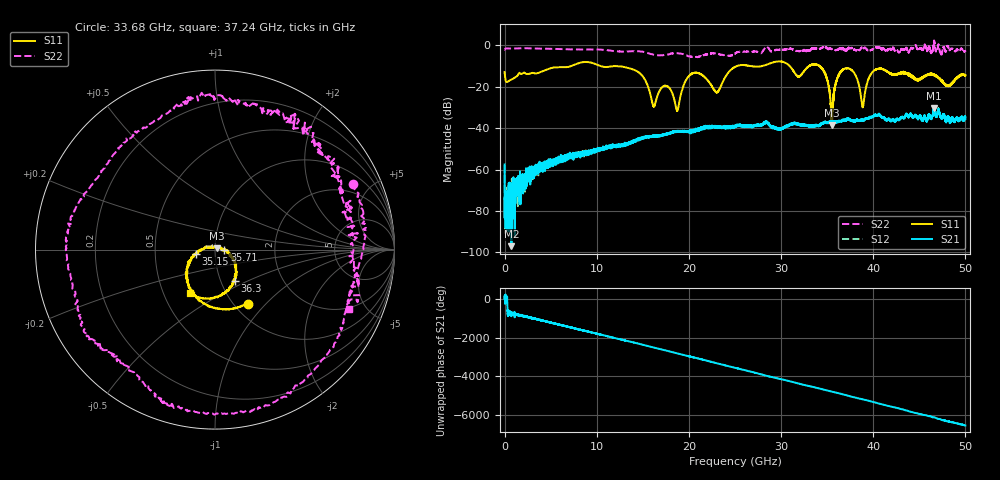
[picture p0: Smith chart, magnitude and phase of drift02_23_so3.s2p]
!Created with skrf (http://scikit-rf.org).
# Hz S RI R 50.0
!freq ReS11 ImS11 ReS21 ImS21 ReS12 ImS12 ReS22 ImS22
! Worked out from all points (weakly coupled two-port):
!   10001 points, 300 kHz to 50 GHz, reference 50 ohm
!   highest |S21| = -30.15 dB at 46.6 GHz (marker M1); lowest = -97.0 dB at 740.3 MHz (marker M2)
!   lowest |S11| = -38.6 dB at 35.53 GHz (marker M3), VSWR 1.02, Z = 51 + j0.649 ohm
!   |S11| at or under -10 dB: start of sweep to 7.178 GHz; 12.33 GHz to 25.18 GHz (12.85 GHz wide, 68.5 % of centre); 34.2 GHz to end of sweep (the widest 3 of 18)
!   |S22| runs from -5.7 to 2.4 dB; largest |S21 - S12| = 0.0037
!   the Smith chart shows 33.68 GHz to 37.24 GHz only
!   S11 on the Smith chart (normalised r, x): 33.68 GHz: 1.15, -0.79; 35.15 GHz: 0.81, -0.04; 35.71 GHz: 1.11, -0.01; 36.3 GHz: 1.17, -0.43; 37.24 GHz: 0.68, -0.36
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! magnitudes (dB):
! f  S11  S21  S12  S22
! 300 kHz  -12.9  -57.5  -57.8  -2.1
! 260.3 MHz  -17.6  -75.5  -75.5  -1.4
! 740.3 MHz  -16.5  -97.0  -75.6  -1.5
! 8.335 GHz  -8.2  -53.0  -52.8  -1.9
! 14.03 GHz  -11.7  -46.5  -46.1  -2.8
! 16.67 GHz  -23.2  -43.5  -43.6  -4.8
! 18.74 GHz  -31.6  -41.4  -41.5  -3.7
! 20.23 GHz  -13.9  -41.4  -41.9  -5.4
! 23.04 GHz  -22.6  -39.4  -39.4  -4.1
! 25 GHz  -10.3  -39.4  -39.2  -3.9
! 33.34 GHz  -9.3  -38.8  -39.0  -1.6
! 33.68 GHz  -9.1  -38.6  -38.7  -1.4
! 35.15 GHz  -19.2  -37.0  -37.4  -1.7
! 35.53 GHz  -38.6  -36.9  -36.8  -1.7
! 35.71 GHz  -25.7  -36.6  -36.6  -1.7
! 36.3 GHz  -13.7  -36.5  -36.5  -1.6
! 37.24 GHz  -11.0  -35.5  -36.0  -1.8
! 38.86 GHz  -29.9  -36.1  -36.1  -1.3
! 39.93 GHz  -12.8  -34.5  -34.4  -2.0
! 41.67 GHz  -13.1  -35.3  -35.7  -1.8
! 46.6 GHz  -14.3  -30.1  -30.3  2.0
! 50 GHz  -14.4  -35.4  -34.5  -2.6
